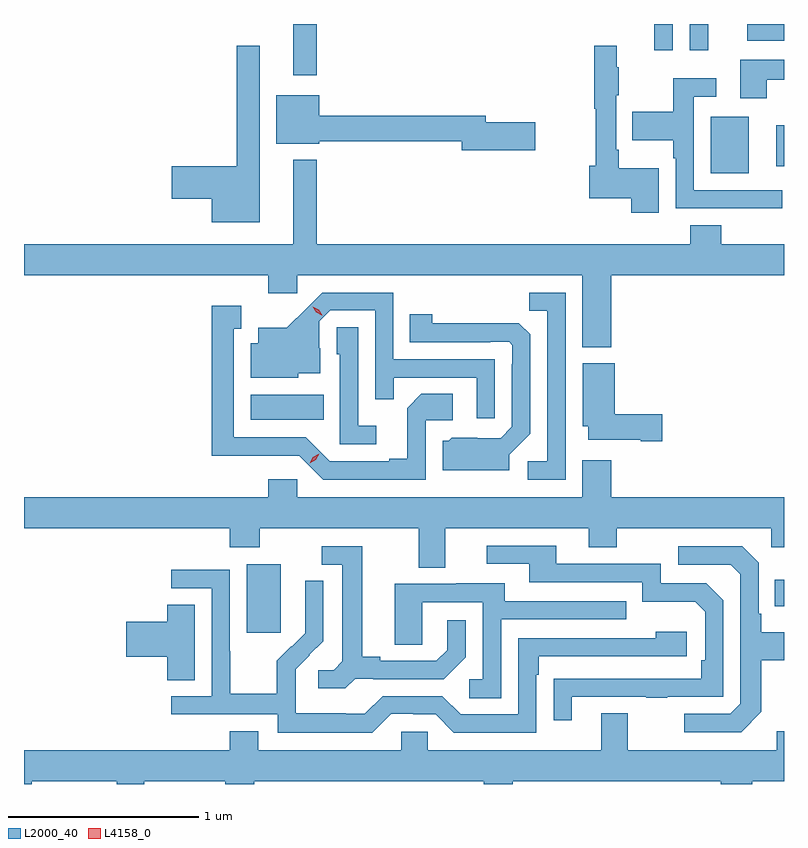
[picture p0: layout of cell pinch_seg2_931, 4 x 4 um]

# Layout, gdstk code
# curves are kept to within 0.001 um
import gdstk
lib = gdstk.Library(unit=1e-6, precision=1e-09)
def R(c, l, rs):  # rectangles x0, y0, x1, y1
    for r in rs: c.add(gdstk.rectangle(r[:2], r[2:], *l))
def P(c, l, *ps):  # polygons
    for p in ps: c.add(gdstk.Polygon(p, *l))
L2000_40 = (2000, 40)
L4158_0 = (4158, 0)

pinch_seg2_931 = lib.new_cell('pinch_seg2_931')
R(pinch_seg2_931, L2000_40, [(317.171,651.081,317.35,651.442), (319.951,651.221,319.999,651.361), (317.192,652.202,317.576,652.336), (319.613,653.501,319.813,653.797), (319.958,653.538,319.999,653.752), (317.417,654.015,317.539,654.286), (319.316,654.147,319.413,654.286), (319.503,654.147,319.601,654.286), (319.805,654.197,319.999,654.286)])
P(pinch_seg2_931, L2000_40, [(317.239,654.172),(317.118,654.172),(317.118,653.537),(316.776,653.537),(316.776,653.366),(316.988,653.366),(316.988,653.243),(317.239,653.243)],
  [(319.339,653.527),(319.129,653.527),(319.129,653.623),(319.116,653.623),(319.116,653.911),(319.129,653.911),(319.129,654.059),(319.118,654.059),(319.118,654.172),(319,654.172),(319,653.841),(319.008,653.841),(319.008,653.54),(318.974,653.54),(318.974,653.369),(319.196,653.369),(319.196,653.292),(319.339,653.292)],
  [(319.909,653.993),(319.999,653.993),(319.999,654.097),(319.769,654.097),(319.769,653.895),(319.909,653.895)],
  [(319.99,653.412),(319.524,653.412),(319.524,653.904),(319.642,653.904),(319.642,654.001),(319.416,654.001),(319.416,653.823),(319.201,653.823),(319.201,653.675),(319.416,653.675),(319.416,653.579),(319.428,653.579),(319.428,653.316),(319.753,653.316),(319.753,653.315),(319.99,653.315)],
  [(318.691,653.768),(318.43,653.768),(318.43,653.804),(317.554,653.804),(317.554,653.911),(317.327,653.911),(317.327,653.657),(317.554,653.657),(317.554,653.668),(318.302,653.668),(318.302,653.621),(318.691,653.621)],
  [(319.091,652.964),(319.999,652.964),(319.999,653.128),(319.67,653.128),(319.67,653.227),(319.505,653.227),(319.505,653.128),(317.539,653.128),(317.539,653.572),(317.417,653.572),(317.417,653.128),(315.999,653.128),(315.999,652.964),(317.285,652.964),(317.285,652.869),(317.436,652.869),(317.436,652.964),(318.938,652.964),(318.938,652.586),(319.091,652.586)],
  [(318.477,652.521),(317.943,652.521),(317.943,652.872),(317.57,652.872),(317.383,652.687),(317.231,652.687),(317.231,652.606),(317.192,652.606),(317.192,652.424),(317.442,652.424),(317.442,652.448),(317.557,652.448),(317.557,652.58),(317.553,652.58),(317.553,652.722),(317.61,652.779),(317.847,652.779),(317.847,652.312),(317.945,652.312),(317.945,652.425),(318.381,652.425),(318.381,652.212),(318.477,652.212)],
  [(318.849,652.872),(318.658,652.872),(318.658,652.777),(318.753,652.777),(318.753,651.984),(318.651,651.984),(318.651,651.888),(318.849,651.888)],
  [(318.114,652.2),(318.256,652.2),(318.256,652.34),(318.091,652.34),(318.015,652.264),(318.015,651.997),(317.921,651.997),(317.921,651.984),(317.607,651.984),(317.481,652.11),(317.104,652.11),(317.104,652.683),(317.143,652.683),(317.143,652.804),(316.986,652.804),(316.986,652.013),(317.448,652.014),(317.574,651.888),(318.114,651.888)],
  [(318.553,652.02),(318.663,652.13),(318.663,652.652),(318.604,652.711),(318.147,652.712),(318.147,652.759),(318.028,652.759),(318.028,652.611),(318.452,652.611),(318.452,652.614),(318.552,652.614),(318.57,652.596),(318.57,652.496),(318.567,652.496),(318.567,652.167),(318.507,652.107),(318.25,652.108),(318.234,652.092),(318.203,652.092),(318.203,651.938),(318.553,651.938)],
  [(317.854,652.171),(317.757,652.171),(317.757,652.691),(317.646,652.691),(317.646,652.548),(317.661,652.548),(317.661,652.074),(317.854,652.074)],
  [(319.357,652.232),(319.108,652.232),(319.108,652.501),(318.941,652.501),(318.941,652.17),(318.968,652.17),(318.968,652.097),(319.244,652.097),(319.244,652.09),(319.357,652.09)],
  [(317.436,651.889),(317.285,651.889),(317.285,651.796),(315.999,651.796),(315.999,651.632),(317.081,651.632),(317.081,651.533),(317.241,651.533),(317.241,651.632),(318.077,651.632),(318.077,651.424),(318.217,651.424),(318.217,651.632),(318.971,651.632),(318.971,651.533),(319.119,651.533),(319.119,651.632),(319.932,651.632),(319.932,651.533),(319.999,651.533),(319.999,651.796),(319.091,651.796),(319.091,651.991),(318.938,651.991),(318.938,651.796),(317.436,651.796)],
  [(318.883,650.745),(319.273,650.745),(319.273,650.74),(319.385,650.74),(319.385,650.745),(319.68,650.745),(319.68,651.252),(319.59,651.342),(319.35,651.342),(319.35,651.444),(318.799,651.444),(318.799,651.54),(318.435,651.54),(318.435,651.444),(318.659,651.444),(318.659,651.348),(319.254,651.348),(319.254,651.245),(319.531,651.245),(319.584,651.192),(319.584,650.938),(319.564,650.938),(319.564,650.841),(318.787,650.84),(318.787,650.622),(318.883,650.622)],
  [(317.742,650.841),(317.836,650.841),(317.836,650.838),(318.208,650.838),(318.324,650.954),(318.324,651.148),(318.227,651.148),(318.227,650.991),(318.17,650.934),(317.875,650.934),(317.875,650.957),(317.779,650.957),(317.779,651.537),(317.565,651.537),(317.565,651.441),(317.675,651.441),(317.675,650.933),(317.628,650.886),(317.547,650.886),(317.547,650.789),(317.69,650.789)],
  [(319.879,650.665),(319.879,650.938),(319.999,650.938),(319.999,651.085),(319.879,651.085),(319.879,651.181),(319.866,651.181),(319.866,651.45),(319.779,651.537),(319.443,651.537),(319.443,651.441),(319.719,651.441),(319.77,651.39),(319.77,650.709),(319.716,650.655),(319.473,650.655),(319.473,650.559),(319.773,650.559)],
  [(317.931,650.655),(318.047,650.655),(318.047,650.652),(318.165,650.652),(318.261,650.556),(318.696,650.556),(318.696,650.861),(318.709,650.861),(318.709,650.958),(319.486,650.958),(319.486,651.088),(319.325,651.088),(319.325,651.054),(318.6,651.054),(318.6,650.652),(318.297,650.652),(318.201,650.748),(317.886,650.748),(317.793,650.655),(317.693,650.655),(317.693,650.659),(317.43,650.659),(317.43,650.793),(317.428,650.793),(317.428,650.89),(317.574,651.038),(317.574,651.356),(317.478,651.356),(317.478,651.202),(317.48,651.202),(317.48,651.08),(317.409,651.009),(317.406,651.012),(317.329,650.935),(317.329,650.761),(317.085,650.761),(317.085,650.984),(317.082,650.984),(317.082,651.414),(316.773,651.414),(316.773,651.315),(316.986,651.315),(316.986,650.748),(316.773,650.748),(316.773,650.652),(317.334,650.652),(317.334,650.555),(317.831,650.555)],
  [(318.51,651.153),(319.169,651.153),(319.169,651.249),(318.529,651.249),(318.529,651.343),(318.275,651.343),(318.275,651.339),(317.951,651.339),(317.951,651.019),(318.096,651.019),(318.096,651.243),(318.414,651.243),(318.414,650.838),(318.342,650.838),(318.342,650.737),(318.51,650.737)],
  [(316.897,651.23),(316.754,651.23),(316.754,651.14),(316.536,651.14),(316.536,650.957),(316.754,650.957),(316.754,650.833),(316.897,650.833)],
  [(316.041,650.3),(316.486,650.3),(316.486,650.286),(316.633,650.286),(316.633,650.3),(317.057,650.3),(317.057,650.286),(317.21,650.286),(317.21,650.3),(318.42,650.3),(318.42,650.286),(318.572,650.286),(318.572,650.3),(319.667,650.3),(319.667,650.286),(319.832,650.286),(319.832,650.3),(319.999,650.3),(319.999,650.563),(319.961,650.563),(319.961,650.464),(319.177,650.464),(319.177,650.659),(319.037,650.659),(319.037,650.464),(318.123,650.464),(318.123,650.562),(317.985,650.562),(317.985,650.464),(317.233,650.464),(317.233,650.563),(317.081,650.563),(317.081,650.464),(315.999,650.464),(315.999,650.286),(316.041,650.286)])
P(pinch_seg2_931, L4158_0, [(317.567,652.753),(317.537,652.768),(317.519,652.798),(317.519,652.798),(317.52,652.798),(317.55,652.783),(317.568,652.754),(317.568,652.753)],
  [(317.502,651.974),(317.502,651.974),(317.52,652.007),(317.552,652.025),(317.552,652.025),(317.552,652.025),(317.534,651.993),(317.502,651.974)])

lib.write_gds('pinch_seg2_931.gds')
